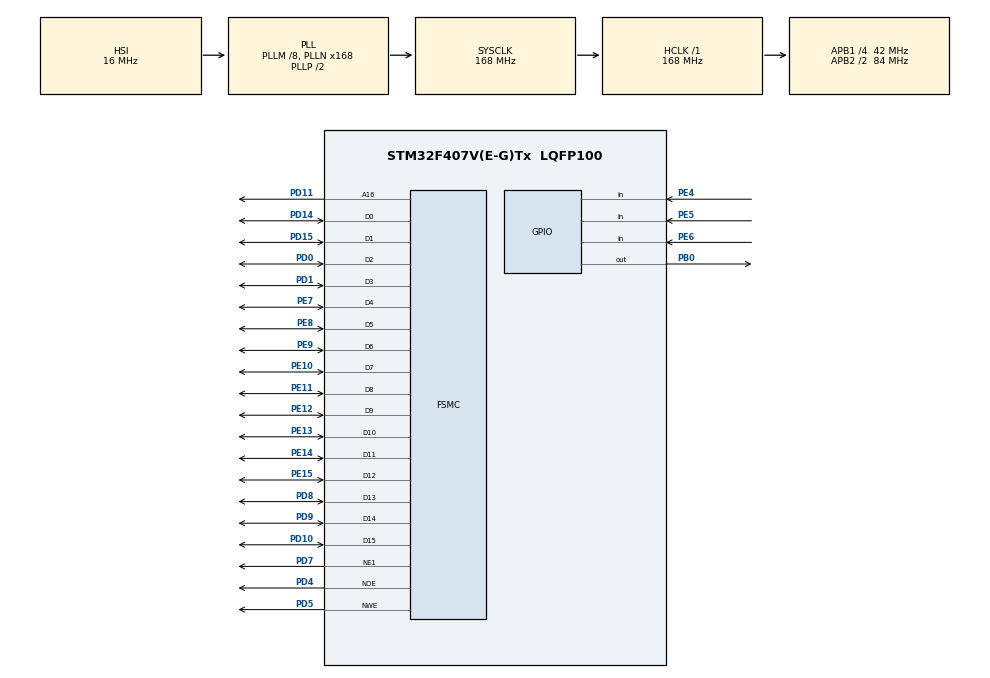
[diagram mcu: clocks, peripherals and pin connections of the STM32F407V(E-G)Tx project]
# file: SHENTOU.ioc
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FSMC.ExtendedMode1=FSMC_EXTENDED_MODE_ENABLE
Mcu.Family=STM32F4
Mcu.Name=STM32F407V(E-G)Tx
Mcu.Package=LQFP100
NVIC.PriorityGroup=NVIC_PRIORITYGROUP_4
PA13.Mode=Serial_Wire
PA13.Signal=SYS_JTMS-SWDIO
PA14.Mode=Serial_Wire
PA14.Signal=SYS_JTCK-SWCLK
PB0.Signal=GPIO_Output
PD0.Mode=16b-d1
PD0.Signal=FSMC_D2
PD1.Mode=16b-d1
PD1.Signal=FSMC_D3
PD10.Mode=16b-d1
PD10.Signal=FSMC_D15
PD11.Mode=A16_1
PD11.Signal=FSMC_A16
PD14.Mode=16b-d1
PD14.Signal=FSMC_D0
PD15.Mode=16b-d1
PD15.Signal=FSMC_D1
PD4.Mode=Lcd1
PD4.Signal=FSMC_NOE
PD5.Mode=Lcd1
PD5.Signal=FSMC_NWE
PD7.Mode=NorPsramChipSelect1_1
PD7.Signal=FSMC_NE1
PD8.Mode=16b-d1
PD8.Signal=FSMC_D13
PD9.Mode=16b-d1
PD9.Signal=FSMC_D14
PE10.Mode=16b-d1
PE10.Signal=FSMC_D7
PE11.Mode=16b-d1
PE11.Signal=FSMC_D8
PE12.Mode=16b-d1
PE12.Signal=FSMC_D9
PE13.Mode=16b-d1
PE13.Signal=FSMC_D10
PE14.Mode=16b-d1
PE14.Signal=FSMC_D11
PE15.Mode=16b-d1
PE15.Signal=FSMC_D12
PE4.Signal=GPIO_Input
PE5.Signal=GPIO_Input
PE6.Signal=GPIO_Input
PE7.Mode=16b-d1
PE7.Signal=FSMC_D4
PE8.Mode=16b-d1
PE8.Signal=FSMC_D5
PE9.Mode=16b-d1
PE9.Signal=FSMC_D6
PH0-OSC_IN.Mode=HSE-External-Oscillator
PH0-OSC_IN.Signal=RCC_OSC_IN
PH1-OSC_OUT.Mode=HSE-External-Oscillator
PH1-OSC_OUT.Signal=RCC_OSC_OUT
ProjectManager.HeapSize=0x200
ProjectManager.StackSize=0x400
ProjectManager.TargetToolchain=MDK-ARM V5.32
RCC.48MHZClocksFreq_Value=84000000
RCC.AHBFreq_Value=168000000
RCC.APB1CLKDivider=RCC_HCLK_DIV4
RCC.APB1Freq_Value=42000000
RCC.APB1TimFreq_Value=84000000
RCC.APB2CLKDivider=RCC_HCLK_DIV2
RCC.APB2Freq_Value=84000000
RCC.APB2TimFreq_Value=168000000
RCC.CortexFreq_Value=168000000
RCC.HCLKFreq_Value=168000000
RCC.HSE_VALUE=25000000
RCC.HSI_VALUE=16000000
RCC.LSE_VALUE=32768
RCC.PLLM=8
RCC.PLLN=168
RCC.SYSCLKFreq_VALUE=168000000
RCC.SYSCLKSource=RCC_SYSCLKSOURCE_PLLCLK
RCC.VCOOutputFreq_Value=336000000
board=custom

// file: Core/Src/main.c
/* USER CODE BEGIN Header */
/**
  ******************************************************************************
  * @file           : main.c
  * @brief          : Main program body
  ******************************************************************************
  * @attention
  *
  * Copyright (c) 2024 STMicroelectronics.
  * All rights reserved.
  *
  * This software is licensed under terms that can be found in the LICENSE file
  * in the root directory of this software component.
  * If no LICENSE file comes with this software, it is provided AS-IS.
  *
  ******************************************************************************
  */
/* USER CODE END Header */
#include "main.h"
#include "gpio.h"
#include "fsmc.h"

/* USER CODE BEGIN Includes */
#include "LCD.h"
#include "touch.h"
#include "delay.h"
#include "24cxx.h"
#include "lvgl.h"
#include "lv_port_indev_template.h"
#include "lv_port_disp_template.h"
#include "lv_demo_stress.h"
#include "gui_guider.h"
#include "events_init.h"

lv_ui guider_ui;

/* USER CODE END Includes */

/* USER CODE BEGIN PTD */

int a = 0;
uint8_t key_scan(uint8_t mode)
{
    static uint8_t key_up = 1;  /* 按键按松开标志 */
    uint8_t keyval = 0;

    if (mode) key_up = 1;       /* 支持连按 */

    if (key_up && (KEY0 == 1 || KEY1 == 1 || KEY2 == 1))  /* 按键松开标志为1, 且有任意一个按键按下了 */
    {
        delay_ms(10);           /* 去抖动 */
        key_up = 0;

        if (KEY0 == 1)  keyval = KEY0_PRES;

        if (KEY1 == 1)  keyval = KEY1_PRES;

        if (KEY2 == 1)  keyval = KEY2_PRES;

    }
    else if (KEY0 ==0 && KEY1 == 0 && KEY2 == 0) /* 没有任何按键按下, 标记按键松开 */
    {
        key_up = 1;
    }

    return keyval;              /* 返回键值 */
}

/* USER CODE END PTD */

void SystemClock_Config(void);

int main(void)
{

  /* MCU Configuration--------------------------------------------------------*/

  /* Reset of all peripherals, Initializes the Flash interface and the Systick. */
  HAL_Init();

  /* Configure the system clock */
  SystemClock_Config();

  /* Initialize all configured peripherals */
  MX_GPIO_Init();
  MX_FSMC_Init();
  /* USER CODE BEGIN 2 */
	delay_init(168);
	lcd_init();
	tp_dev.init();
//    if (tp_dev.touchtype != 0XFF)
//    {
//        lcd_show_string(30, 110, 200, 16, 16, "Press KEY0 to Adjust", RED); /* 电阻屏才显示 */
//    }
	delay_ms(500);
lv_init();
		lv_port_disp_init();
		lv_port_indev_init();
//lv_ex_label();
setup_ui(&guider_ui);
		events_init(&guider_ui);
  /* USER CODE END 2 */

  /* Infinite loop */
  /* USER CODE BEGIN WHILE */
  while (1)
  {

			lv_task_handler();

    /* USER CODE END WHILE */

  }
}

void SystemClock_Config(void)
{
  RCC_OscInitTypeDef RCC_OscInitStruct = {0};
  RCC_ClkInitTypeDef RCC_ClkInitStruct = {0};

  /** Configure the main internal regulator output voltage
  */
  __HAL_RCC_PWR_CLK_ENABLE();
  __HAL_PWR_VOLTAGESCALING_CONFIG(PWR_REGULATOR_VOLTAGE_SCALE1);

  /** Initializes the RCC Oscillators according to the specified parameters
  * in the RCC_OscInitTypeDef structure.
  */
  RCC_OscInitStruct.OscillatorType = RCC_OSCILLATORTYPE_HSI;
  RCC_OscInitStruct.HSIState = RCC_HSI_ON;
  RCC_OscInitStruct.HSICalibrationValue = RCC_HSICALIBRATION_DEFAULT;
  RCC_OscInitStruct.PLL.PLLState = RCC_PLL_ON;
  RCC_OscInitStruct.PLL.PLLSource = RCC_PLLSOURCE_HSI;
  RCC_OscInitStruct.PLL.PLLM = 8;
  RCC_OscInitStruct.PLL.PLLN = 168;
  RCC_OscInitStruct.PLL.PLLP = RCC_PLLP_DIV2;
  RCC_OscInitStruct.PLL.PLLQ = 4;
  if (HAL_RCC_OscConfig(&RCC_OscInitStruct) != HAL_OK)
  {
    Error_Handler();
  }

  /** Initializes the CPU, AHB and APB buses clocks
  */
  RCC_ClkInitStruct.ClockType = RCC_CLOCKTYPE_HCLK|RCC_CLOCKTYPE_SYSCLK
                              |RCC_CLOCKTYPE_PCLK1|RCC_CLOCKTYPE_PCLK2;
  RCC_ClkInitStruct.SYSCLKSource = RCC_SYSCLKSOURCE_PLLCLK;
  RCC_ClkInitStruct.AHBCLKDivider = RCC_SYSCLK_DIV1;
  RCC_ClkInitStruct.APB1CLKDivider = RCC_HCLK_DIV4;
  RCC_ClkInitStruct.APB2CLKDivider = RCC_HCLK_DIV2;

  if (HAL_RCC_ClockConfig(&RCC_ClkInitStruct, FLASH_LATENCY_5) != HAL_OK)
  {
    Error_Handler();
  }
}

void Error_Handler(void)
{
  __disable_irq();
  while (1)
  {
  }
}
